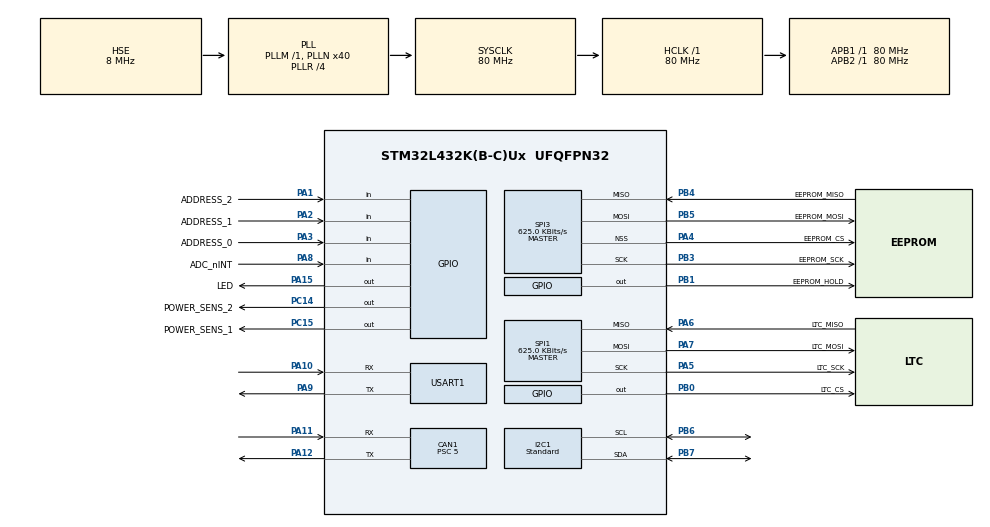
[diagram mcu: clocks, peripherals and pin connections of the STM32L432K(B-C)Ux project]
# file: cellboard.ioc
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CAN1.ABOM=ENABLE
CAN1.BS1=CAN_BS1_13TQ
CAN1.BS2=CAN_BS2_2TQ
CAN1.CalculateBaudRate=1000000
CAN1.CalculateTimeBit=1000
CAN1.CalculateTimeQuantum=62.5
CAN1.NART=ENABLE
CAN1.Prescaler=5
CAN1.TXFP=DISABLE
I2C1.I2C_Speed_Mode=I2C_Standard
I2C1.Timing=0x10909CEC
Mcu.Family=STM32L4
Mcu.Name=STM32L432K(B-C)Ux
Mcu.Package=UFQFPN32
NVIC.CAN1_RX0_IRQn=true\:0\:0\:false\:false\:true\:true\:true\:true
NVIC.CAN1_RX1_IRQn=true\:0\:0\:false\:false\:true\:true\:true\:true
NVIC.CAN1_SCE_IRQn=true\:0\:0\:false\:false\:true\:true\:true\:true
NVIC.CAN1_TX_IRQn=true\:0\:0\:false\:false\:true\:true\:true\:true
NVIC.I2C1_ER_IRQn=true\:0\:0\:false\:false\:true\:true\:true\:true
NVIC.PriorityGroup=NVIC_PRIORITYGROUP_4
NVIC.TIM1_BRK_TIM15_IRQn=true\:0\:0\:false\:false\:true\:true\:true\:true
NVIC.TIM1_UP_TIM16_IRQn=true\:0\:0\:false\:false\:true\:true\:true\:true
NVIC.TIM2_IRQn=true\:0\:0\:false\:false\:true\:true\:true\:true
NVIC.USART1_IRQn=true\:0\:0\:false\:false\:true\:true\:true\:true
PA0.Mode=HSE-External-Clock-Source-for-LittleOrca
PA0.Signal=RCC_CK_IN
PA1.GPIO_Label=ADDRESS_2
PA1.Signal=GPIO_Input
PA10.Mode=Asynchronous
PA10.Signal=USART1_RX
PA11.Mode=CAN_Activate
PA11.Signal=CAN1_RX
PA12.Mode=CAN_Activate
PA12.Signal=CAN1_TX
PA13\ (JTMS-SWDIO).Mode=Serial_Wire
PA13\ (JTMS-SWDIO).Signal=SYS_JTMS-SWDIO
PA14\ (JTCK-SWCLK).Mode=Serial_Wire
PA14\ (JTCK-SWCLK).Signal=SYS_JTCK-SWCLK
PA15\ (JTDI).GPIO_Label=LED
PA15\ (JTDI).Signal=GPIO_Output
PA2.GPIO_Label=ADDRESS_1
PA2.Signal=GPIO_Input
PA3.GPIO_Label=ADDRESS_0
PA3.Signal=GPIO_Input
PA4.GPIO_Label=EEPROM_CS
PA4.Mode=NSS_Signal_Hard_Output
PA4.Signal=SPI3_NSS
PA5.GPIO_Label=LTC_SCK
PA5.Mode=Full_Duplex_Master
PA5.Signal=SPI1_SCK
PA6.GPIO_Label=LTC_MISO
PA6.Mode=Full_Duplex_Master
PA6.Signal=SPI1_MISO
PA7.GPIO_Label=LTC_MOSI
PA7.Mode=Full_Duplex_Master
PA7.Signal=SPI1_MOSI
PA8.GPIO_Label=ADC_nINT
PA8.Signal=GPIO_Input
PA9.Mode=Asynchronous
PA9.Signal=USART1_TX
PB0.GPIO_Label=LTC_CS
PB0.GPIO_Speed=GPIO_SPEED_FREQ_LOW
PB0.PinState=GPIO_PIN_RESET
PB0.Signal=GPIO_Output
PB1.GPIO_Label=EEPROM_HOLD
PB1.Signal=GPIO_Output
PB3\ (JTDO-TRACESWO).GPIO_Label=EEPROM_SCK
PB3\ (JTDO-TRACESWO).Mode=Full_Duplex_Master
PB3\ (JTDO-TRACESWO).Signal=SPI3_SCK
PB4\ (NJTRST).GPIO_Label=EEPROM_MISO
PB4\ (NJTRST).Mode=Full_Duplex_Master
PB4\ (NJTRST).Signal=SPI3_MISO
PB5.GPIO_Label=EEPROM_MOSI
PB5.Mode=Full_Duplex_Master
PB5.Signal=SPI3_MOSI
PB6.GPIO_Pu=GPIO_PULLUP
PB6.Mode=I2C
PB6.Signal=I2C1_SCL
PB7.GPIO_Pu=GPIO_PULLUP
PB7.Mode=I2C
PB7.Signal=I2C1_SDA
PC14-OSC32_IN\ (PC14).GPIO_Label=POWER_SENS_2
PC14-OSC32_IN\ (PC14).Signal=GPIO_Output
PC15-OSC32_OUT\ (PC15).GPIO_Label=POWER_SENS_1
PC15-OSC32_OUT\ (PC15).Signal=GPIO_Output
ProjectManager.HeapSize=0x200
ProjectManager.StackSize=0x400
ProjectManager.TargetToolchain=Makefile
RCC.ADCFreq_Value=32000000
RCC.AHBFreq_Value=80000000
RCC.APB1Freq_Value=80000000
RCC.APB1TimFreq_Value=80000000
RCC.APB2Freq_Value=80000000
RCC.APB2TimFreq_Value=80000000
RCC.CortexFreq_Value=80000000
RCC.EnbaleCSS=true
RCC.HCLKFreq_Value=80000000
RCC.HSE_VALUE=8000000
RCC.HSI48_VALUE=48000000
RCC.HSI_VALUE=16000000
RCC.LSE_VALUE=32768
RCC.MSI_VALUE=4000000
RCC.PLLN=40
RCC.PLLR=RCC_PLLR_DIV4
RCC.PLLSourceVirtual=RCC_PLLSOURCE_HSE
RCC.SYSCLKFreq_VALUE=80000000
RCC.SYSCLKSource=RCC_SYSCLKSOURCE_PLLCLK
RCC.USBFreq_Value=32000000
RCC.VCOOutputFreq_Value=320000000
SPI1.BaudRatePrescaler=SPI_BAUDRATEPRESCALER_128
SPI1.CLKPolarity=SPI_POLARITY_LOW
SPI1.CalculateBaudRate=625.0 KBits/s
SPI1.DataSize=SPI_DATASIZE_8BIT
SPI1.Direction=SPI_DIRECTION_2LINES
SPI1.Mode=SPI_MODE_MASTER
SPI1.NSSPMode=SPI_NSS_PULSE_ENABLE
SPI1.VirtualType=VM_MASTER
SPI3.BaudRatePrescaler=SPI_BAUDRATEPRESCALER_128
SPI3.CalculateBaudRate=625.0 KBits/s
SPI3.DataSize=SPI_DATASIZE_8BIT
SPI3.Direction=SPI_DIRECTION_2LINES
SPI3.Mode=SPI_MODE_MASTER
SPI3.VirtualNSS=VM_NSSHARD
SPI3.VirtualType=VM_MASTER
TIM15.Channel-Output\ Compare1\ No\ Output=TIM_CHANNEL_1
TIM15.Prescaler=59999
TIM16.Prescaler=7999
TIM2.Channel-Output\ Compare1\ No\ Output=TIM_CHANNEL_1
TIM2.ClockDivision=TIM_CLOCKDIVISION_DIV1
TIM2.Prescaler=7999
USART1.VirtualMode-Asynchronous=VM_ASYNC
VP_TIM15_VS_ClockSourceINT.Mode=Internal
VP_TIM15_VS_no_output1.Mode=Output Compare1 No Output
VP_TIM16_VS_ClockSourceINT.Mode=Enable_Timer
VP_TIM2_VS_ClockSourceINT.Mode=Internal
VP_TIM2_VS_no_output1.Mode=Output Compare1 No Output
board=custom

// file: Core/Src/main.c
/* USER CODE BEGIN Header */
/**
  ******************************************************************************
  * @file           : main.c
  * @brief          : Main program body
  ******************************************************************************
  * @attention
  *
  * <h2><center>&copy; Copyright (c) 2021 STMicroelectronics.
  * All rights reserved.</center></h2>
  *
  * This software component is licensed by ST under BSD 3-Clause license,
  * the "License"; You may not use this file except in compliance with the
  * License. You may obtain a copy of the License at:
  *                        opensource.org/licenses/BSD-3-Clause
  *
  ******************************************************************************
  */
/* USER CODE END Header */
#include "main.h"
#include "can.h"
#include "i2c.h"
#include "spi.h"
#include "tim.h"
#include "usart.h"
#include "gpio.h"

/* USER CODE BEGIN Includes */
#include "bal_fsm.h"
#include "can_comms.h"
#include "blink.h"
#include "ltc6813_utils.h"
#include "measurements.h"
#include "temp.h"
#include "volt.h"

#include <stdio.h>
#include <string.h>
/* USER CODE END Includes */

/* USER CODE BEGIN PV */

uint8_t cellboard_index = 0;
uint32_t volt_timer     = 0;
uint32_t temp_timer     = 0;

/* USER CODE END PV */

void SystemClock_Config(void);

/* USER CODE BEGIN 0 */

static void VectorBase_Config(void) {
    /* The constant array with vectors of the vector table is declared externally in the
   * c-startup code.
   */
    extern const unsigned long g_pfnVectors[];

    /* Remap the vector table to where the vector table is located for this program. */
    SCB->VTOR = (unsigned long)&g_pfnVectors[0];
}

/* USER CODE END 0 */

int main(void)
{
  /* USER CODE BEGIN 1 */

  VectorBase_Config();

  /* USER CODE END 1 */

  /* MCU Configuration--------------------------------------------------------*/

  /* Reset of all peripherals, Initializes the Flash interface and the Systick. */
  HAL_Init();

  /* Configure the system clock */
  SystemClock_Config();

  /* Initialize all configured peripherals */
  MX_GPIO_Init();
  MX_CAN1_Init();
  MX_I2C1_Init();
  MX_SPI1_Init();
  MX_SPI3_Init();
  MX_USART1_UART_Init();
  MX_TIM2_Init();
  MX_TIM15_Init();
  MX_TIM16_Init();
  /* USER CODE BEGIN 2 */

    cellboard_index = HAL_GPIO_ReadPin(ADDRESS_2_GPIO_Port, ADDRESS_2_Pin) |
                      HAL_GPIO_ReadPin(ADDRESS_1_GPIO_Port, ADDRESS_1_Pin) << 1 |
                      HAL_GPIO_ReadPin(ADDRESS_0_GPIO_Port, ADDRESS_0_Pin) << 2;

    if (cellboard_index == 7)
        cellboard_index = 5;

    volt_init();
    temp_init();

    //set temperature limits ( 0 - 60 )
    temp_set_limits(1.0, CELL_MAX_TEMPERATURE);

    can_init_with_filter();

    measurements_init(&HTIM_MEASURES);

    blink_init();
    // HAL_TIM_Base_Start_IT(&DISCHARGE_TIMER);

  /* USER CODE END 2 */

  /* Infinite loop */
  /* USER CODE BEGIN WHILE */
    while (1) {
        HAL_GPIO_WritePin(LED_GPIO_Port, LED_Pin, blink_routine(HAL_GetTick()));
        measurements_flags_check();
#ifdef UART_LOGGING
        if (HAL_GetTick() - temp_timer >= 500) {
            temp_timer = HAL_GetTick();

            char buf[500] = {'\0'};
            sprintf(buf, "[%.2f]\r\n", HAL_GetTick() / 1000.0);
            uint16_t min = volt_get_min_index();

            for (uint8_t i = 0; i < CELLBOARD_CELL_COUNT; i++) {
                sprintf(buf + strlen(buf), "%3u %-.3fV", i, (float)voltages[i] / 10000);

                if (CANLIB_BITTEST(bal.cells, i))
                    sprintf(buf + strlen(buf), " D");

                if (min == i) {
                    sprintf(buf + strlen(buf), " M");
                }
                sprintf(buf + strlen(buf), "\r\n");
                //if (i % LTC6813_REG_CELL_COUNT == 0) {
                //    sprintf(buf + strlen(buf), "\r\n");
                //}
                //sprintf(buf + strlen(buf), "[%3u %-.3f V] ", i, (float)voltages[i] / 10000);
            }
            sprintf(buf + strlen(buf), "Threshold: %d mV", BAL_MAX_VOLTAGE_THRESHOLD / 10);
            sprintf(buf + strlen(buf), "\r\nBAL: %li", fsm_get_state(bal.fsm));
            if (errors != 0) {
                sprintf(buf + strlen(buf), "\r\nERRORS: %x", errors);
            }
            sprintf(buf + strlen(buf), "\r\n\n");
            HAL_UART_Transmit_IT(&CLI_UART, (uint8_t *)buf, strlen(buf));
            //HAL_Delay(200);
            //fsm_trigger_event(bal.fsm, EV_BAL_CHECK_TIMER);
        }
#endif

        fsm_run();

    /* USER CODE END WHILE */

    }
}

void SystemClock_Config(void)
{
  RCC_OscInitTypeDef RCC_OscInitStruct = {0};
  RCC_ClkInitTypeDef RCC_ClkInitStruct = {0};

  /** Configure the main internal regulator output voltage
  */
  if (HAL_PWREx_ControlVoltageScaling(PWR_REGULATOR_VOLTAGE_SCALE1) != HAL_OK)
  {
    Error_Handler();
  }

  /** Initializes the RCC Oscillators according to the specified parameters
  * in the RCC_OscInitTypeDef structure.
  */
  RCC_OscInitStruct.OscillatorType = RCC_OSCILLATORTYPE_HSE;
  RCC_OscInitStruct.HSEState = RCC_HSE_BYPASS;
  RCC_OscInitStruct.PLL.PLLState = RCC_PLL_ON;
  RCC_OscInitStruct.PLL.PLLSource = RCC_PLLSOURCE_HSE;
  RCC_OscInitStruct.PLL.PLLM = 1;
  RCC_OscInitStruct.PLL.PLLN = 40;
  RCC_OscInitStruct.PLL.PLLP = RCC_PLLP_DIV7;
  RCC_OscInitStruct.PLL.PLLQ = RCC_PLLQ_DIV2;
  RCC_OscInitStruct.PLL.PLLR = RCC_PLLR_DIV4;
  if (HAL_RCC_OscConfig(&RCC_OscInitStruct) != HAL_OK)
  {
    Error_Handler();
  }

  /** Initializes the CPU, AHB and APB buses clocks
  */
  RCC_ClkInitStruct.ClockType = RCC_CLOCKTYPE_HCLK|RCC_CLOCKTYPE_SYSCLK
                              |RCC_CLOCKTYPE_PCLK1|RCC_CLOCKTYPE_PCLK2;
  RCC_ClkInitStruct.SYSCLKSource = RCC_SYSCLKSOURCE_PLLCLK;
  RCC_ClkInitStruct.AHBCLKDivider = RCC_SYSCLK_DIV1;
  RCC_ClkInitStruct.APB1CLKDivider = RCC_HCLK_DIV1;
  RCC_ClkInitStruct.APB2CLKDivider = RCC_HCLK_DIV1;

  if (HAL_RCC_ClockConfig(&RCC_ClkInitStruct, FLASH_LATENCY_4) != HAL_OK)
  {
    Error_Handler();
  }

  /** Enables the Clock Security System
  */
  HAL_RCC_EnableCSS();
}

void Error_Handler(void)
{
  /* USER CODE BEGIN Error_Handler_Debug */
    /* User can add his own implementation to report the HAL error return state */
    __disable_irq();

    HAL_NVIC_SystemReset();

    while (1) {
    }
  /* USER CODE END Error_Handler_Debug */
}
